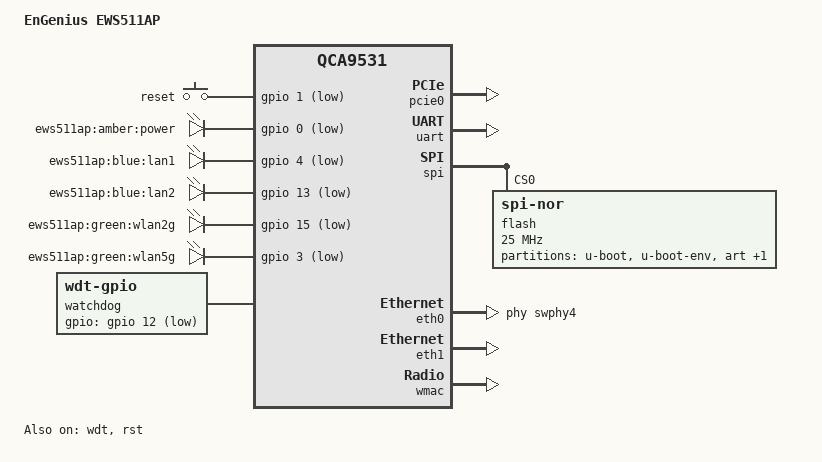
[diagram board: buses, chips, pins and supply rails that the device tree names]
// SPDX-License-Identifier: GPL-2.0-or-later OR MIT
/dts-v1/;

#include <dt-bindings/gpio/gpio.h>
#include <dt-bindings/input/input.h>

#include "qca953x.dtsi"

/ {
	compatible = "engenius,ews511ap", "qca,qca9531";
	model = "EnGenius EWS511AP";

	keys {
		compatible = "gpio-keys-polled";

		poll-interval = <20>;
		pinctrl-names = "default";
		pinctrl-0 = <&jtag_disable_pins>;

		reset {
			label = "reset";
			linux,code = <KEY_RESTART>;
			gpios = <&gpio 1 GPIO_ACTIVE_LOW>;
		};
	};

	aliases {
		led-boot = &power_led;
		led-failsafe = &power_led;
		led-running = &power_led;
		led-upgrade = &power_led;
	};

	leds {
		compatible = "gpio-leds";

		power_led: power {
			label = "ews511ap:amber:power";
			gpios = <&gpio 0 GPIO_ACTIVE_LOW>;
			default-state = "on";
		};

		lan1 {
			label = "ews511ap:blue:lan1";
			gpios = <&gpio 4 GPIO_ACTIVE_LOW>;
		};

		lan2 {
			label = "ews511ap:blue:lan2";
			gpios = <&gpio 13 GPIO_ACTIVE_LOW>;
		};

		wlan2g {
			label = "ews511ap:green:wlan2g";
			gpios = <&gpio 15 GPIO_ACTIVE_LOW>;
			linux,default-trigger = "phy0tpt";
		};

		wlan5g {
			label = "ews511ap:green:wlan5g";
			gpios = <&gpio 3 GPIO_ACTIVE_LOW>;
			linux,default-trigger = "phy1tpt";
		};
	};

	watchdog {
		compatible = "linux,wdt-gpio";

		gpios = <&gpio 12 GPIO_ACTIVE_LOW>;
		hw_algo = "toggle";
		/* hw_margin_ms is actually 300s but driver limits it to 60s */
		hw_margin_ms = <60000>;
		always-running;
	};
};

&wdt {
	status = "okay";
};

&rst {
	status = "okay";
};

&pcie0 {
	status = "okay";
};

&uart {
	status = "okay";
};

&spi {
	status = "okay";
	num-cs = <0>;

	flash@0 {
		compatible = "jedec,spi-nor";
		reg = <0>;
		spi-max-frequency = <25000000>;

		partitions {
			compatible = "fixed-partitions";
			#address-cells = <1>;
			#size-cells = <1>;

			partition@0 {
				label = "u-boot";
				reg = <0x000000 0x040000>;
				read-only;
			};

			ubootenv: partition@40000 {
				label = "u-boot-env";
				reg = <0x040000 0x010000>;
			};

			art: partition@50000 {
				label = "art";
				reg = <0x050000 0x010000>;
			};

			partition@60000 {
				compatible = "denx,uimage";
				label = "firmware";
				reg = <0x060000 0xfa0000>;
			};
		};
	};
};

&eth0 {
	status = "okay";
	phy-handle = <&swphy4>;
};

&eth1 {
	status = "okay";
};

&wmac {
	status = "okay";
	mtd-cal-data = <&art 0x1000>;
};
